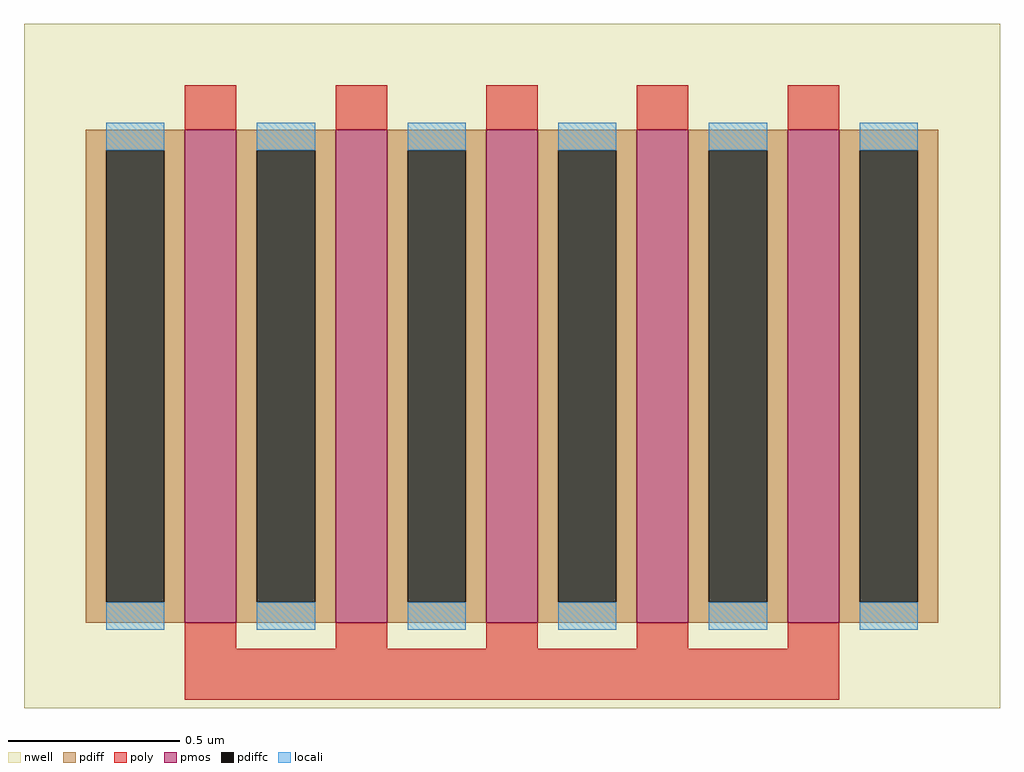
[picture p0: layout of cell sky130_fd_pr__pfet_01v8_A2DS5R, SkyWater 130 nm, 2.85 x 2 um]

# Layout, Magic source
magic
tech sky130A
magscale 1 2
<< nwell >>
rect -109 -86 461 314
<< pmos >>
rect -15 -36 15 252
rect 73 -36 103 252
rect 161 -36 191 252
rect 249 -36 279 252
rect 337 -36 367 252
<< pdiff >>
rect -73 240 -15 252
rect -73 -24 -61 240
rect -27 -24 -15 240
rect -73 -36 -15 -24
rect 15 240 73 252
rect 15 -24 27 240
rect 61 -24 73 240
rect 15 -36 73 -24
rect 103 240 161 252
rect 103 -24 115 240
rect 149 -24 161 240
rect 103 -36 161 -24
rect 191 240 249 252
rect 191 -24 203 240
rect 237 -24 249 240
rect 191 -36 249 -24
rect 279 240 337 252
rect 279 -24 291 240
rect 325 -24 337 240
rect 279 -36 337 -24
rect 367 240 425 252
rect 367 -24 379 240
rect 413 -24 425 240
rect 367 -36 425 -24
<< pdiffc >>
rect -61 -24 -27 240
rect 27 -24 61 240
rect 115 -24 149 240
rect 203 -24 237 240
rect 291 -24 325 240
rect 379 -24 413 240
<< poly >>
rect -15 252 15 278
rect 73 252 103 278
rect 161 252 191 278
rect 249 252 279 278
rect 337 252 367 278
rect -15 -51 15 -36
rect 73 -51 103 -36
rect 161 -51 191 -36
rect 249 -51 279 -36
rect 337 -51 367 -36
rect -15 -81 367 -51
<< locali >>
rect -61 240 -27 256
rect -61 -40 -27 -24
rect 27 240 61 256
rect 27 -40 61 -24
rect 115 240 149 256
rect 115 -40 149 -24
rect 203 240 237 256
rect 203 -40 237 -24
rect 291 240 325 256
rect 291 -40 325 -24
rect 379 240 413 256
rect 379 -40 413 -24
<< properties >>
string gencell sky130_fd_pr__pfet_01v8
string library sky130
string parameters w 0.72 l 0.15 m 1 nf 1 diffcov 100 polycov 100 guard 0 glc 0 grc 0 gtc 0 gbc 0 tbcov 100 rlcov 100 topc 0 botc 1 poverlap 0 doverlap 1 lmin 0.15 wmin 0.42 compatible {sky130_fd_pr__pfet_01v8  sky130_fd_pr__pfet_01v8_lvt sky130_fd_pr__pfet_01v8_hvt  sky130_fd_pr__pfet_g5v0d10v5} full_metal 0 viasrc 100 viadrn 100 viagate 100 viagb 0 viagr 0 viagl 0 viagt 0
<< end >>
